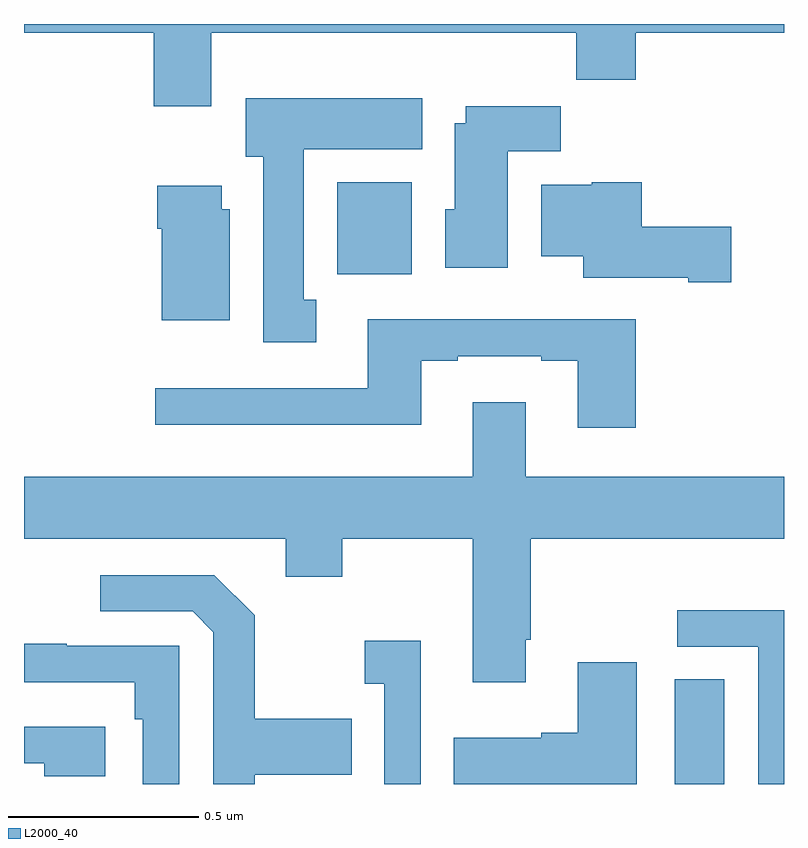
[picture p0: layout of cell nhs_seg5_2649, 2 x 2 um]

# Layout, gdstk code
import gdstk
lib = gdstk.Library(unit=1e-6, precision=1e-09)
def R(c, l, rs):  # rectangles x0, y0, x1, y1
    for r in rs: c.add(gdstk.rectangle(r[:2], r[2:], *l))
def P(c, l, *ps):  # polygons
    for p in ps: c.add(gdstk.Polygon(p, *l))
L2000_40 = (2000, 40)

nhs_seg5_2649 = lib.new_cell('nhs_seg5_2649')
R(nhs_seg5_2649, L2000_40, [(148.712,838.799,148.843,839.075), (147.824,840.14,148.021,840.382)])
P(nhs_seg5_2649, L2000_40, [(147.493,840.776),(148.453,840.776),(148.453,840.652),(148.61,840.652),(148.61,840.776),(149,840.776),(149,840.799),(147,840.799),(147,840.776),(147.341,840.776),(147.341,840.582),(147.493,840.582)],
  [(147.769,840.074),(147.736,840.074),(147.736,840.47),(148.048,840.47),(148.048,840.604),(147.584,840.604),(147.584,840.45),(147.629,840.45),(147.629,839.961),(147.769,839.961)],
  [(148.273,840.464),(148.412,840.464),(148.412,840.583),(148.163,840.583),(148.163,840.538),(148.133,840.538),(148.133,840.312),(148.109,840.312),(148.109,840.158),(148.273,840.158)],
  [(148.861,840.266),(148.625,840.266),(148.625,840.382),(148.494,840.382),(148.494,840.376),(148.361,840.376),(148.361,840.188),(148.472,840.188),(148.472,840.131),(148.748,840.131),(148.748,840.119),(148.861,840.119)],
  [(147.541,840.312),(147.52,840.312),(147.52,840.373),(147.35,840.373),(147.35,840.26),(147.362,840.26),(147.362,840.02),(147.541,840.02)],
  [(148.61,840.022),(147.905,840.022),(147.905,839.841),(147.345,839.841),(147.345,839.744),(148.045,839.744),(148.045,839.913),(148.141,839.913),(148.141,839.925),(148.361,839.925),(148.361,839.913),(148.457,839.913),(148.457,839.736),(148.61,839.736)],
  [(148.321,839.179),(148.334,839.179),(148.334,839.444),(149,839.444),(149,839.608),(148.321,839.608),(148.321,839.803),(148.181,839.803),(148.181,839.608),(147,839.608),(147,839.444),(147.689,839.444),(147.689,839.345),(147.837,839.345),(147.837,839.444),(148.181,839.444),(148.181,839.067),(148.321,839.067)],
  [(147.607,838.823),(147.863,838.823),(147.863,838.971),(147.607,838.971),(147.607,839.243),(147.501,839.349),(147.201,839.349),(147.201,839.253),(147.444,839.253),(147.498,839.199),(147.498,838.799),(147.607,838.799)],
  [(149,839.256),(148.719,839.256),(148.719,839.16),(148.932,839.16),(148.932,838.799),(149,838.799)],
  [(148.044,839.176),(147.897,839.176),(147.897,839.063),(147.948,839.063),(147.948,838.799),(148.044,838.799)],
  [(147.408,839.163),(147.113,839.163),(147.113,839.168),(147.001,839.168),(147.001,839.163),(147,839.163),(147,839.067),(147.292,839.067),(147.292,838.97),(147.312,838.97),(147.312,838.799),(147.408,838.799)],
  [(148.612,839.119),(148.457,839.119),(148.457,838.934),(148.361,838.934),(148.361,838.921),(148.131,838.921),(148.131,838.799),(148.612,838.799)],
  [(147.214,838.95),(147,838.95),(147,838.854),(147.053,838.854),(147.053,838.82),(147.214,838.82)])

lib.write_gds('nhs_seg5_2649.gds')
